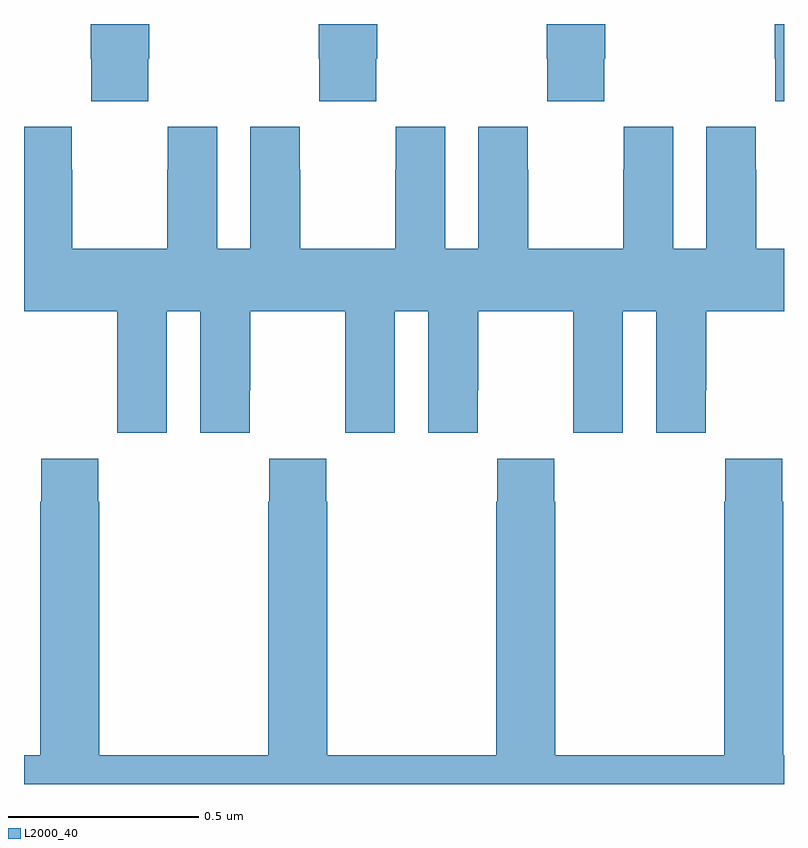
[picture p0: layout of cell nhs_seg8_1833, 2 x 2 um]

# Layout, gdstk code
import gdstk
lib = gdstk.Library(unit=1e-6, precision=1e-09)
def P(c, l, *ps):  # polygons
    for p in ps: c.add(gdstk.Polygon(p, *l))
L2000_40 = (2000, 40)

nhs_seg8_1833 = lib.new_cell('nhs_seg8_1833')
P(nhs_seg8_1833, L2000_40, [(137,1139.9),(136.975,1139.9),(136.975,1139.809),(136.977,1139.809),(136.977,1139.697),(137,1139.697)],
  [(135.327,1139.809),(135.33,1139.809),(135.33,1139.9),(135.175,1139.9),(135.175,1139.809),(135.177,1139.809),(135.177,1139.697),(135.327,1139.697)],
  [(135.927,1139.809),(135.93,1139.809),(135.93,1139.9),(135.775,1139.9),(135.775,1139.809),(135.777,1139.809),(135.777,1139.697),(135.927,1139.697)],
  [(136.375,1139.809),(136.377,1139.809),(136.377,1139.697),(136.527,1139.697),(136.527,1139.809),(136.53,1139.809),(136.53,1139.9),(136.375,1139.9)],
  [(135.376,1139.144),(135.464,1139.144),(135.464,1138.824),(135.594,1138.824),(135.594,1138.936),(135.595,1138.936),(135.595,1139.144),(135.845,1139.144),(135.845,1138.936),(135.846,1138.936),(135.846,1138.824),(135.976,1138.824),(135.976,1139.144),(136.064,1139.144),(136.064,1138.824),(136.194,1138.824),(136.194,1138.936),(136.195,1138.936),(136.195,1139.144),(136.445,1139.144),(136.445,1138.936),(136.446,1138.936),(136.446,1138.824),(136.576,1138.824),(136.576,1139.144),(136.664,1139.144),(136.664,1138.824),(136.794,1138.824),(136.794,1138.936),(136.795,1138.936),(136.795,1139.144),(137,1139.144),(137,1139.308),(136.927,1139.308),(136.927,1139.516),(136.926,1139.516),(136.926,1139.629),(136.796,1139.629),(136.796,1139.308),(136.708,1139.308),(136.708,1139.629),(136.578,1139.629),(136.578,1139.516),(136.577,1139.516),(136.577,1139.308),(136.327,1139.308),(136.327,1139.516),(136.326,1139.516),(136.326,1139.629),(136.196,1139.629),(136.196,1139.308),(136.108,1139.308),(136.108,1139.629),(135.978,1139.629),(135.978,1139.516),(135.977,1139.516),(135.977,1139.308),(135.727,1139.308),(135.727,1139.516),(135.726,1139.516),(135.726,1139.629),(135.596,1139.629),(135.596,1139.308),(135.508,1139.308),(135.508,1139.629),(135.378,1139.629),(135.378,1139.516),(135.377,1139.516),(135.377,1139.308),(135.127,1139.308),(135.127,1139.516),(135.126,1139.516),(135.126,1139.629),(135,1139.629),(135,1139.144),(135.245,1139.144),(135.245,1138.936),(135.246,1138.936),(135.246,1138.824),(135.376,1138.824)],
  [(137,1137.976),(136.998,1137.976),(136.998,1138.643),(136.995,1138.643),(136.995,1138.756),(136.845,1138.756),(136.845,1138.643),(136.843,1138.643),(136.843,1137.976),(136.398,1137.976),(136.398,1138.643),(136.395,1138.643),(136.395,1138.756),(136.245,1138.756),(136.245,1138.643),(136.243,1138.643),(136.243,1137.976),(135.798,1137.976),(135.798,1138.643),(135.795,1138.643),(135.795,1138.756),(135.645,1138.756),(135.645,1138.643),(135.643,1138.643),(135.643,1137.976),(135.198,1137.976),(135.198,1138.643),(135.195,1138.643),(135.195,1138.756),(135.045,1138.756),(135.045,1138.643),(135.043,1138.643),(135.043,1137.976),(135,1137.976),(135,1137.9),(137,1137.9)])

lib.write_gds('nhs_seg8_1833.gds')
